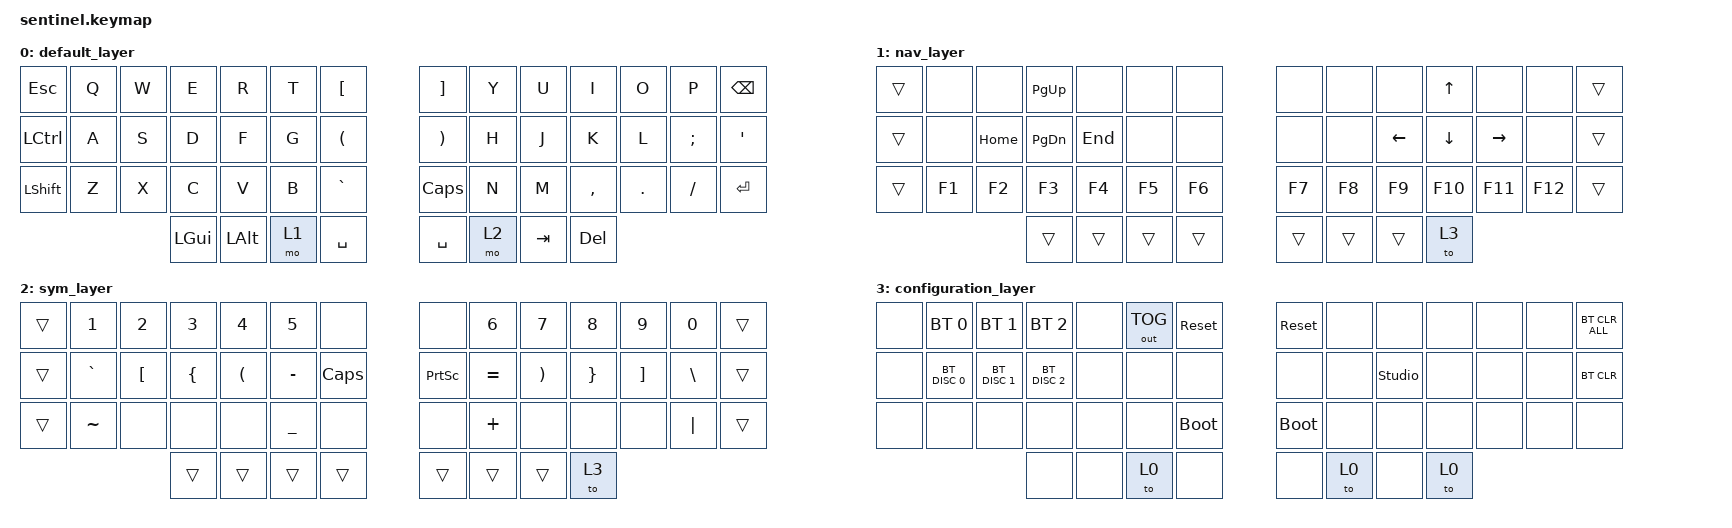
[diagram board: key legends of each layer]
/*
 * Copyright (c) 2024 ai03 Design Studio
 *
 * SPDX-License-Identifier: MIT
 */

#include <behaviors.dtsi>
#include <dt-bindings/zmk/keys.h>
#include <dt-bindings/zmk/bt.h>
#include <dt-bindings/zmk/outputs.h>

/ {
    keymap {
        compatible = "zmk,keymap";

        default_layer {
/*
    Esc  Q    W    E    R    T    App  |    App  Y    U    I    O    P    Bspc
    Ctrl A    S    D    F    G    Ldtp |    Rdtp H    J    K    L    ;    '
    Lsft Z    X    C    V    B    Ltab |    Rtab N    M    ,    .    /    Ent
                   Lgui Lalt Nav  Spc  |    Spc  Sym  Tab  Del  
*/

            bindings = <
    &kp ESC   &kp Q     &kp W     &kp E     &kp R     &kp T     &kp LBKT             &kp RBKT  &kp Y     &kp U     &kp I     &kp O     &kp P     &kp BSPC
    &kp LCTRL &kp A     &kp S     &kp D     &kp F     &kp G     &kp LPAR             &kp RPAR  &kp H     &kp J     &kp K     &kp L     &kp SEMI  &kp SQT
    &kp LSHFT &kp Z     &kp X     &kp C     &kp V     &kp B     &kp GRAVE            &kp CAPS  &kp N     &kp M     &kp COMMA &kp DOT   &kp FSLH  &kp ENTER
                                  &kp LGUI  &kp LALT  &mo 1     &kp SPACE            &kp SPACE &mo 2     &kp TAB   &kp DEL
            >;
        };

        nav_layer {
/*
    ---- xxxx xxxx PgUp xxxx xxxx xxxx |    xxxx xxxx xxxx Up   xxxx xxxx ---- 
    ---- xxxx Home PgDn End  xxxx xxxx |    xxxx xxxx Left Down Rght xxxx ---- 
    ---- F1   F2   F3   F4   F5   F6   |    F7   F8   F9   F10  F11  F12  ----
                   ---- ---- ---- ---- |    ---- ---- ---- BTSet 
*/

            bindings = <
    &trans    &none     &none     &kp PG_UP &none     &none     &none                &none     &none     &none     &kp UP    &none     &none     &trans    
    &trans    &none     &kp HOME  &kp PG_DN &kp END   &none     &none                &none     &none     &kp LEFT  &kp DOWN  &kp RIGHT &none     &trans    
    &trans    &kp F1    &kp F2    &kp F3    &kp F4    &kp F5    &kp F6               &kp F7    &kp F8    &kp F9    &kp F10   &kp F11   &kp F12   &trans    
                                  &trans    &trans    &trans    &trans               &trans    &trans    &trans    &to 3    
            >;
        };

        sym_layer {
/*
    ---- 1    2    3    4    5    xxxx |    xxxx 6    7    8    9    0    ---- 
    ---- `    [    {    (    -    Caps |    Pscr =    )    }    ]    \    ---- 
    ---- ~    xxxx xxxx xxxx _    xxxx |    xxxx +    xxxx xxxx xxxx |    ----
                   ---- ---- ---- ---- |    ---- ---- ---- BTSet 
*/

            bindings = <
    &trans    &kp N1    &kp N2    &kp N3    &kp N4    &kp N5    &none                &none     &kp N6    &kp N7    &kp N8    &kp N9    &kp N0    &trans   
    &trans    &kp GRAVE &kp LBKT  &kp LBRC  &kp LPAR  &kp MINUS &kp CAPS             &kp PSCRN &kp EQUAL &kp RPAR  &kp RBRC  &kp RBKT  &kp BSLH  &trans    
    &trans    &kp TILDE &none     &none     &none     &kp UNDER &none                &none     &kp PLUS  &none     &none     &none     &kp PIPE  &trans    
                                  &trans    &trans    &trans    &trans               &trans    &trans    &trans    &to 3    
            >;
        };

        configuration_layer {
/*
    xxxxxxx BtSel0  BtSel1  BtSel2  xxxxxxx OutTog  Reset   |    Reset   xxxxxxx xxxxxxx xxxxxxx xxxxxxx xxxxxxx BtClrAll
    xxxxxxx BtDisc0 BtDisc1 BtDisc2 xxxxxxx xxxxxxx xxxxxxx |    xxxxxxx xxxxxxx StUnlck xxxxxxx xxxxxxx xxxxxxx BtClr
    xxxxxxx xxxxxxx xxxxxxx xxxxxxx xxxxxxx xxxxxxx Btloadr |    Btloadr xxxxxxx xxxxxxx xxxxxxx xxxxxxx xxxxxxx xxxxxxx 
                            xxxxxxx xxxxxxx To0     xxxxxxx |    xxxxxxx To0     xxxxxxx xxxxxxx
*/

            bindings = <
    &none     &bt BT_SEL 0  &bt BT_SEL 1  &bt BT_SEL 2  &none     &out OUT_TOG &sys_reset             &sys_reset  &none     &none          &none     &none     &none     &bt BT_CLR_ALL 
    &none     &bt BT_DISC 0 &bt BT_DISC 1 &bt BT_DISC 2 &none     &none        &none                  &none       &none     &studio_unlock &none     &none     &none     &bt BT_CLR 
    &none     &none         &none         &none         &none     &none        &bootloader            &bootloader &none     &none          &none     &none     &none     &none     
                                          &none         &none     &to 0        &none                  &none       &to 0     &none          &to 0    
            >;
        };

    };

};
